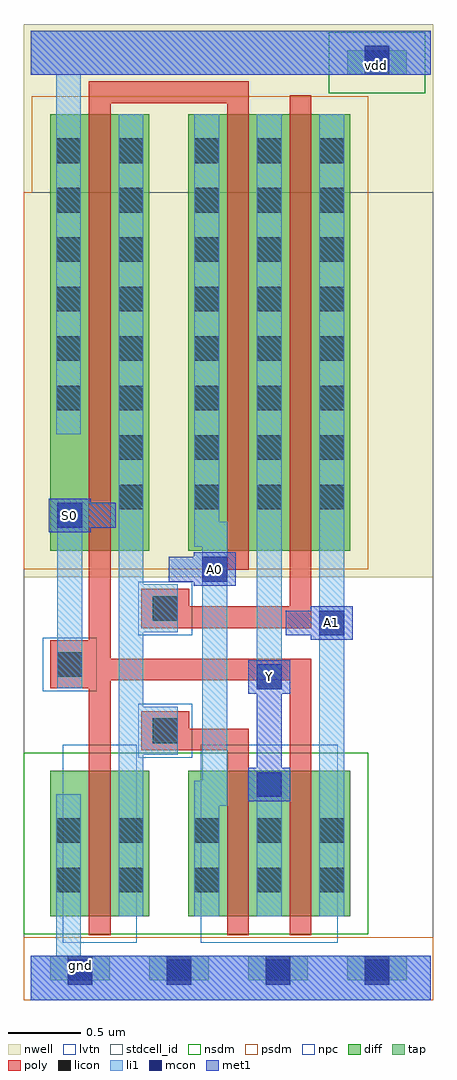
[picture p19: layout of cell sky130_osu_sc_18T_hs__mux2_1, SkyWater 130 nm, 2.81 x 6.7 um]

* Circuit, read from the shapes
.subckt sky130_osu_sc_18T_hs__mux2_1 A0 A1 S0 Y gnd vdd
XM1 n1 S0 gnd gnd sky130_fd_pr__nfet_01v8_lvt w=1 l=0.15
XM2 Y n1 A0 gnd sky130_fd_pr__nfet_01v8_lvt w=1 l=0.15
XM3 A1 S0 Y gnd sky130_fd_pr__nfet_01v8_lvt w=1 l=0.15
XM4 n1 S0 vdd vdd sky130_fd_pr__pfet_01v8 w=3 l=0.15
XM5 Y S0 A0 vdd sky130_fd_pr__pfet_01v8 w=3 l=0.15
XM6 A1 n1 Y vdd sky130_fd_pr__pfet_01v8 w=3 l=0.15
.ends

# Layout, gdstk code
import gdstk
lib = gdstk.Library(unit=1e-6, precision=1e-09)
def R(c, l, rs):  # rectangles x0, y0, x1, y1
    for r in rs: c.add(gdstk.rectangle(r[:2], r[2:], *l))
nwell = (64, 20)
diff = (65, 20)
tap = (65, 44)
poly = (66, 20)
licon = (66, 44)
li1 = (67, 20)
mcon = (67, 44)
met1 = (68, 20)
stdcell_id = (81, 4)
nsdm = (93, 44)
psdm = (94, 20)
npc = (95, 20)
lvtn = (125, 44)

sky130_osu_sc_18t_hs__mu = lib.new_cell('sky130_osu_sc_18T_hs__mux2_1')
R(sky130_osu_sc_18t_hs__mu, nwell, [(-0.045,2.905,2.765,6.705), (-0.045,2.905,2.765,6.705)])
R(sky130_osu_sc_18t_hs__mu, diff, [(0.135,0.575,0.815,1.575), (0.135,0.575,0.815,1.575), (1.085,0.575,2.195,1.575), (1.085,0.575,2.195,1.575), (0.135,3.085,0.815,6.085), (0.135,3.085,0.815,6.085), (1.085,3.085,2.195,6.085), (1.085,3.085,2.195,6.085)])
R(sky130_osu_sc_18t_hs__mu, tap, [(0.135,0.135,0.545,0.305), (0.135,0.135,0.545,0.305), (0.815,0.135,1.225,0.305), (0.815,0.135,1.225,0.305), (1.495,0.135,1.905,0.305), (1.495,0.135,1.905,0.305), (2.175,0.135,2.585,0.305), (2.175,0.135,2.585,0.305), (2.175,6.355,2.585,6.525), (2.175,6.355,2.585,6.525)])
R(sky130_osu_sc_18t_hs__mu, poly, [(0.4,0.445,0.55,2.14), (0.4,0.445,0.55,2.14), (1.35,0.445,1.5,1.715), (1.35,0.445,1.5,1.715), (1.78,0.445,1.93,2.195), (1.78,0.445,1.93,2.195), (0.76,1.715,1.5,1.865), (0.76,1.715,1.5,1.865), (0.76,1.865,1.09,1.985), (0.76,1.865,1.09,1.985), (0.135,2.14,0.55,2.195), (0.135,2.14,0.55,2.195), (0.135,2.195,1.93,2.345), (0.135,2.195,1.93,2.345), (0.135,2.345,0.55,2.47), (0.135,2.345,0.55,2.47), (0.4,2.47,0.55,6.16), (0.4,2.47,0.55,6.16), (0.76,2.555,1.93,2.705), (0.76,2.555,1.93,2.705), (0.76,2.705,1.09,2.825), (0.76,2.705,1.09,2.825), (1.78,2.705,1.93,6.215), (1.78,2.705,1.93,6.215), (1.35,2.955,1.5,6.16), (1.35,2.955,1.5,6.16), (0.4,6.16,1.5,6.31), (0.4,6.16,1.5,6.31)])
R(sky130_osu_sc_18t_hs__mu, licon, [(0.255,0.135,0.425,0.305), (0.255,0.135,0.425,0.305), (0.935,0.135,1.105,0.305), (0.935,0.135,1.105,0.305), (1.615,0.135,1.785,0.305), (1.615,0.135,1.785,0.305), (2.295,0.135,2.465,0.305), (2.295,0.135,2.465,0.305), (0.175,0.74,0.345,0.91), (0.175,0.74,0.345,0.91), (0.605,0.74,0.775,0.91), (0.605,0.74,0.775,0.91), (1.125,0.74,1.295,0.91), (1.125,0.74,1.295,0.91), (1.555,0.74,1.725,0.91), (1.555,0.74,1.725,0.91), (1.985,0.74,2.155,0.91), (1.985,0.74,2.155,0.91), (0.175,1.08,0.345,1.25), (0.175,1.08,0.345,1.25), (0.605,1.08,0.775,1.25), (0.605,1.08,0.775,1.25), (1.125,1.08,1.295,1.25), (1.125,1.08,1.295,1.25), (1.555,1.08,1.725,1.25), (1.555,1.08,1.725,1.25), (1.985,1.08,2.155,1.25), (1.985,1.08,2.155,1.25), (0.84,1.765,1.01,1.935), (0.84,1.765,1.01,1.935), (0.185,2.22,0.355,2.39), (0.185,2.22,0.355,2.39), (0.84,2.605,1.01,2.775), (0.84,2.605,1.01,2.775), (0.605,3.37,0.775,3.54), (0.605,3.37,0.775,3.54), (1.125,3.37,1.295,3.54), (1.125,3.37,1.295,3.54), (1.555,3.37,1.725,3.54), (1.555,3.37,1.725,3.54), (1.985,3.37,2.155,3.54), (1.985,3.37,2.155,3.54), (0.605,3.71,0.775,3.88), (0.605,3.71,0.775,3.88), (1.125,3.71,1.295,3.88), (1.125,3.71,1.295,3.88), (1.555,3.71,1.725,3.88), (1.555,3.71,1.725,3.88), (1.985,3.71,2.155,3.88), (1.985,3.71,2.155,3.88), (0.175,4.05,0.345,4.22), (0.175,4.05,0.345,4.22), (0.605,4.05,0.775,4.22), (0.605,4.05,0.775,4.22), (1.125,4.05,1.295,4.22), (1.125,4.05,1.295,4.22), (1.555,4.05,1.725,4.22), (1.555,4.05,1.725,4.22), (1.985,4.05,2.155,4.22), (1.985,4.05,2.155,4.22), (0.175,4.39,0.345,4.56), (0.175,4.39,0.345,4.56), (0.605,4.39,0.775,4.56), (0.605,4.39,0.775,4.56), (1.125,4.39,1.295,4.56), (1.125,4.39,1.295,4.56), (1.555,4.39,1.725,4.56), (1.555,4.39,1.725,4.56), (1.985,4.39,2.155,4.56), (1.985,4.39,2.155,4.56), (0.175,4.73,0.345,4.9), (0.175,4.73,0.345,4.9), (0.605,4.73,0.775,4.9), (0.605,4.73,0.775,4.9), (1.125,4.73,1.295,4.9), (1.125,4.73,1.295,4.9), (1.555,4.73,1.725,4.9), (1.555,4.73,1.725,4.9), (1.985,4.73,2.155,4.9), (1.985,4.73,2.155,4.9), (0.175,5.07,0.345,5.24), (0.175,5.07,0.345,5.24), (0.605,5.07,0.775,5.24), (0.605,5.07,0.775,5.24), (1.125,5.07,1.295,5.24), (1.125,5.07,1.295,5.24), (1.555,5.07,1.725,5.24), (1.555,5.07,1.725,5.24), (1.985,5.07,2.155,5.24), (1.985,5.07,2.155,5.24), (0.175,5.41,0.345,5.58), (0.175,5.41,0.345,5.58), (0.605,5.41,0.775,5.58), (0.605,5.41,0.775,5.58), (1.125,5.41,1.295,5.58), (1.125,5.41,1.295,5.58), (1.555,5.41,1.725,5.58), (1.555,5.41,1.725,5.58), (1.985,5.41,2.155,5.58), (1.985,5.41,2.155,5.58), (0.175,5.75,0.345,5.92), (0.175,5.75,0.345,5.92), (0.605,5.75,0.775,5.92), (0.605,5.75,0.775,5.92), (1.125,5.75,1.295,5.92), (1.125,5.75,1.295,5.92), (1.555,5.75,1.725,5.92), (1.555,5.75,1.725,5.92), (1.985,5.75,2.155,5.92), (1.985,5.75,2.155,5.92), (2.295,6.355,2.465,6.525), (2.295,6.355,2.465,6.525)])
R(sky130_osu_sc_18t_hs__mu, li1, [(0,0,2.75,0.305), (0,0,2.75,0.305), (0.175,0.305,0.345,1.415), (0.175,0.305,0.345,1.415), (0.605,0.575,0.775,1.685), (0.605,0.575,0.775,1.685), (1.125,0.575,1.295,1.335), (1.125,0.575,1.295,1.335), (1.555,0.575,1.725,1.565), (1.555,0.575,1.725,1.565), (1.985,0.575,2.155,6.085), (1.985,0.575,2.155,6.085), (1.125,1.335,1.35,1.505), (1.125,1.335,1.35,1.505), (1.18,1.505,1.35,3.115), (1.18,1.505,1.35,3.115), (0.605,1.685,1.01,2.015), (0.605,1.685,1.01,2.015), (0.605,2.015,0.775,2.525), (0.605,2.015,0.775,2.525), (1.555,2.135,1.725,6.085), (1.555,2.135,1.725,6.085), (0.185,2.14,0.355,3.415), (0.185,2.14,0.355,3.415), (0.605,2.525,1.01,2.855), (0.605,2.525,1.01,2.855), (0.605,2.855,0.775,6.085), (0.605,2.855,0.775,6.085), (1.125,3.115,1.35,3.285), (1.125,3.115,1.35,3.285), (1.125,3.285,1.295,6.085), (1.125,3.285,1.295,6.085), (0.175,3.885,0.345,6.355), (0.175,3.885,0.345,6.355), (0,6.355,2.75,6.66), (0,6.355,2.75,6.66)])
R(sky130_osu_sc_18t_hs__mu, mcon, [(0.255,0.105,0.425,0.275), (0.255,0.105,0.425,0.275), (0.935,0.105,1.105,0.275), (0.935,0.105,1.105,0.275), (1.615,0.105,1.785,0.275), (1.615,0.105,1.785,0.275), (2.295,0.105,2.465,0.275), (2.295,0.105,2.465,0.275), (1.555,1.395,1.725,1.565), (1.555,1.395,1.725,1.565), (1.555,2.135,1.725,2.305), (1.555,2.135,1.725,2.305), (1.985,2.505,2.155,2.675), (1.985,2.505,2.155,2.675), (1.18,2.875,1.35,3.045), (1.18,2.875,1.35,3.045), (0.185,3.245,0.355,3.415), (0.185,3.245,0.355,3.415), (2.295,6.385,2.465,6.555), (2.295,6.385,2.465,6.555)])
R(sky130_osu_sc_18t_hs__mu, met1, [(0,0,2.75,0.305), (0,0,2.75,0.305), (1.495,1.365,1.785,1.595), (1.495,1.365,1.785,1.595), (1.555,1.595,1.725,2.105), (1.555,1.595,1.725,2.105), (1.495,2.105,1.785,2.335), (1.495,2.105,1.785,2.335), (1.925,2.475,2.215,2.505), (1.925,2.475,2.215,2.505), (1.755,2.505,2.215,2.675), (1.755,2.505,2.215,2.675), (1.925,2.675,2.215,2.705), (1.925,2.675,2.215,2.705), (1.12,2.845,1.41,2.875), (1.12,2.845,1.41,2.875), (0.95,2.875,1.41,3.045), (0.95,2.875,1.41,3.045), (1.12,3.045,1.41,3.075), (1.12,3.045,1.41,3.075), (0.125,3.215,0.415,3.245), (0.125,3.215,0.415,3.245), (0.125,3.245,0.585,3.415), (0.125,3.245,0.585,3.415), (0.125,3.415,0.415,3.445), (0.125,3.415,0.415,3.445), (0,6.355,2.75,6.66), (0,6.355,2.75,6.66)])
R(sky130_osu_sc_18t_hs__mu, stdcell_id, [(-0.045,0,2.765,5.55), (-0.045,0,2.765,5.55)])
R(sky130_osu_sc_18t_hs__mu, nsdm, [(-0.045,0.45,2.32,1.7), (-0.045,0.45,2.32,1.7), (2.05,6.23,2.71,6.65), (2.05,6.23,2.71,6.65)])
R(sky130_osu_sc_18t_hs__mu, psdm, [(-0.045,0,2.765,0.43), (-0.045,0,2.765,0.43), (-0.045,2.96,2.32,5.55), (-0.045,2.96,2.32,5.55), (0.01,5.55,2.32,6.21), (0.01,5.55,2.32,6.21)])
R(sky130_osu_sc_18t_hs__mu, npc, [(0.74,1.665,1.11,2.035), (0.74,1.665,1.11,2.035), (0.085,2.12,0.455,2.49), (0.085,2.12,0.455,2.49), (0.74,2.505,1.11,2.875), (0.74,2.505,1.11,2.875)])
R(sky130_osu_sc_18t_hs__mu, lvtn, [(0.22,0.395,0.73,1.755), (0.22,0.395,0.73,1.755), (1.17,0.395,2.11,1.755), (1.17,0.395,2.11,1.755)])
sky130_osu_sc_18t_hs__mu.add(gdstk.Label('gnd', (0.34,0.24), layer=68, texttype=16))
sky130_osu_sc_18t_hs__mu.add(gdstk.Label('vdd', (2.38,6.42), layer=68, texttype=16))
sky130_osu_sc_18t_hs__mu.add(gdstk.Label('gnd', (0.34,0.24), layer=68, texttype=16))
sky130_osu_sc_18t_hs__mu.add(gdstk.Label('vdd', (2.38,6.42), layer=68, texttype=16))
sky130_osu_sc_18t_hs__mu.add(gdstk.Label('S0', (0.27,3.33), layer=68, texttype=5))
sky130_osu_sc_18t_hs__mu.add(gdstk.Label('Y', (1.64,2.22), layer=68, texttype=5))
sky130_osu_sc_18t_hs__mu.add(gdstk.Label('A0', (1.265,2.96), layer=68, texttype=5))
sky130_osu_sc_18t_hs__mu.add(gdstk.Label('A1', (2.07,2.59), layer=68, texttype=5))
sky130_osu_sc_18t_hs__mu.add(gdstk.Label('S0', (0.27,3.33), layer=68, texttype=5))
sky130_osu_sc_18t_hs__mu.add(gdstk.Label('Y', (1.64,2.22), layer=68, texttype=5))
sky130_osu_sc_18t_hs__mu.add(gdstk.Label('A0', (1.265,2.96), layer=68, texttype=5))
sky130_osu_sc_18t_hs__mu.add(gdstk.Label('A1', (2.07,2.59), layer=68, texttype=5))

lib.write_gds('sky130_osu_sc_18T_hs__mux2_1.gds')
